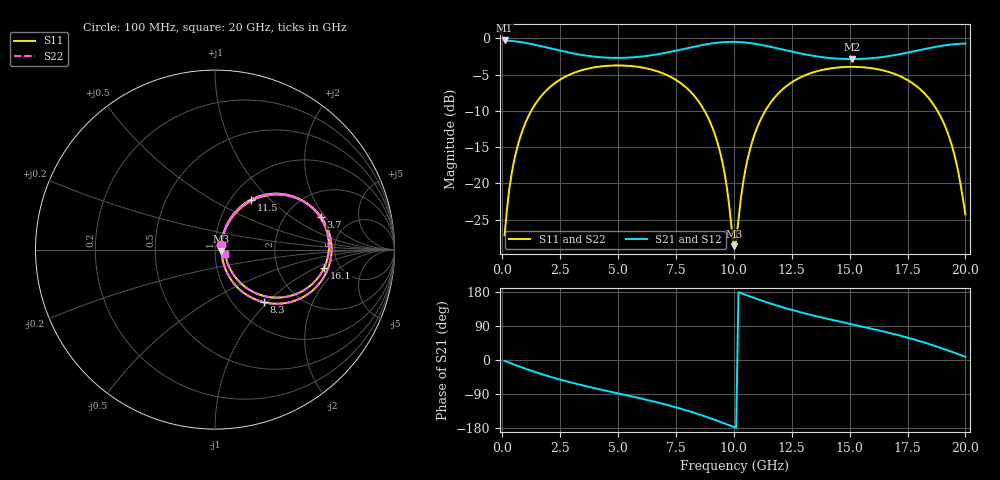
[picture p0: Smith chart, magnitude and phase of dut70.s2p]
! Touchstone file exported from HFSS 2026.1.0
!  File:  C:/ffzhzh/LocalFiles/Ansys_Project_Files/temp_train_TSV_RDL_70_1782969800_45748.aedt
!  Generated:  01:39:54 PM Jul  2, 2026
!  Design:  TSV_RDL
!  Project:  temp_train_TSV_RDL_70_1782969800_45748
! Variables:
!  h_bsmrdl = 3.7um
!  h_ox = 20um
!  h_rdl = 5um
!  h_sub = 84.65um
!  h_tmrdl = 3.84um
!  h_tsv = 84.65um
!  h_via = 3um
!  l_bsmrdl = 993.26um
!  l_sub = 5984.61um
!  l_tmrdl = 626.93um
!  m_sub = 200um
!  pitch = 54.22um
!  r_tsv = 5.45um
!  s_tmrdl = 10um
!  w_bsmrdl = 18.33um
!  w_sub = 500um
!  w_tmrdl = 14.04um
!  x_tsv_center1 = 633.95um
!  x_tsv_center2 = 1645.54um
!  x_tsv_center3 = 2286.51um
!  x_tsv_center4 = 3298.1um
!  x_tsv_center5 = 3939.07um
!  x_tsv_center6 = 4950.66um
# GHz S MA R 50.000000
! Terminal data exported
! Port[1] = TM_RDL1_1_T1
! Port[2] = TM_RDL5_1_T1
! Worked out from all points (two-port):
!   200 points, 100 MHz to 20 GHz, reference 50 ohm
!   highest |S21| = -0.30 dB at 100 MHz (marker M1); lowest = -2.9 dB at 15.1 GHz (marker M2)
!   |S21| within 3 dB of the highest: start of sweep to end of sweep
!   lowest |S11| = -28.7 dB at 10 GHz (marker M3), VSWR 1.08, Z = 53.7 - j0.809 ohm
!   |S11| at or under -10 dB: start of sweep to 1.253 GHz; 8.733 GHz to 11.36 GHz (2.626 GHz wide, 26.1 % of centre); 18.79 GHz to end of sweep
!   |S22| runs from -28.7 to -3.7 dB; largest |S21 - S12| = 3e-14
!   S11 on the Smith chart (normalised r, x): 100 MHz: 1.07, +0.06; 3.7 GHz: 3.06, +1.82; 8.3 GHz: 1.36, -0.95; 11.5 GHz: 1.23, +0.78; 16.1 GHz: 3.79, -1.23; 20 GHz: 1.12, -0.05
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0.1  0.04398 37.8  0.966 -2.4  0.966 -2.4  0.04398 37.8
! Gamma 0 0 0 0
! Port Impedance 50 0 50 0
0.5  0.1409 63.4  0.9546 -11.8  0.9546 -11.8  0.1409 63.4
1.1  0.2836 57.6  0.923 -25.0  0.923 -25.0  0.2836 57.6
2.2  0.4811 39.4  0.843 -46.6  0.843 -46.6  0.4811 39.4
3.5  0.6067 20.0  0.7648 -67.4  0.7648 -67.4  0.6067 20.0
3.7  0.6178 17.3  0.7566 -70.3  0.7566 -70.3  0.6178 17.3
5.3  0.6479 -3.5  0.734 -92.1  0.734 -92.1  0.6479 -3.5
6.8  0.5845 -23.7  0.7807 -113.5  0.7807 -113.5  0.5844 -23.7
8.3  0.3992 -47.2  0.8765 -139.6  0.8765 -139.6  0.3992 -47.2
9.4  0.1657 -62.5  0.9361 -162.9  0.9361 -162.9  0.1657 -62.5
9.7  0.09332 -59.0  0.9431 -169.7  0.9431 -169.7  0.09329 -59.0
10  0.03691 -11.7  0.9446 -176.6  0.9446 -176.6  0.03688 -11.8
10.1  0.03985 25.3  0.9438 -178.9  0.9438 -178.9  0.03982 25.3
10.6  0.1485 64.6  0.931 169.8  0.931 169.8  0.1485 64.6
11.5  0.3438 54.1  0.8795 150.7  0.8795 150.7  0.3438 54.1
13.4  0.5806 25.2  0.7581 117.9  0.7581 117.9  0.5806 25.2
15.1  0.6356 3.2  0.7185 94.2  0.7185 94.2  0.6356 3.2
16.1  0.6165 -9.4  0.7327 80.5  0.7327 80.5  0.6165 -9.4
16.7  0.5853 -17.4  0.7542 71.8  0.7542 71.8  0.5853 -17.4
18.9  0.2949 -49.5  0.8835 32.6  0.8835 32.6  0.2949 -49.5
19.5  0.1633 -53.4  0.9098 19.6  0.9098 19.6  0.1633 -53.4
20  0.06113 -23.2  0.9184 8.4  0.9184 8.4  0.06104 -23.2
